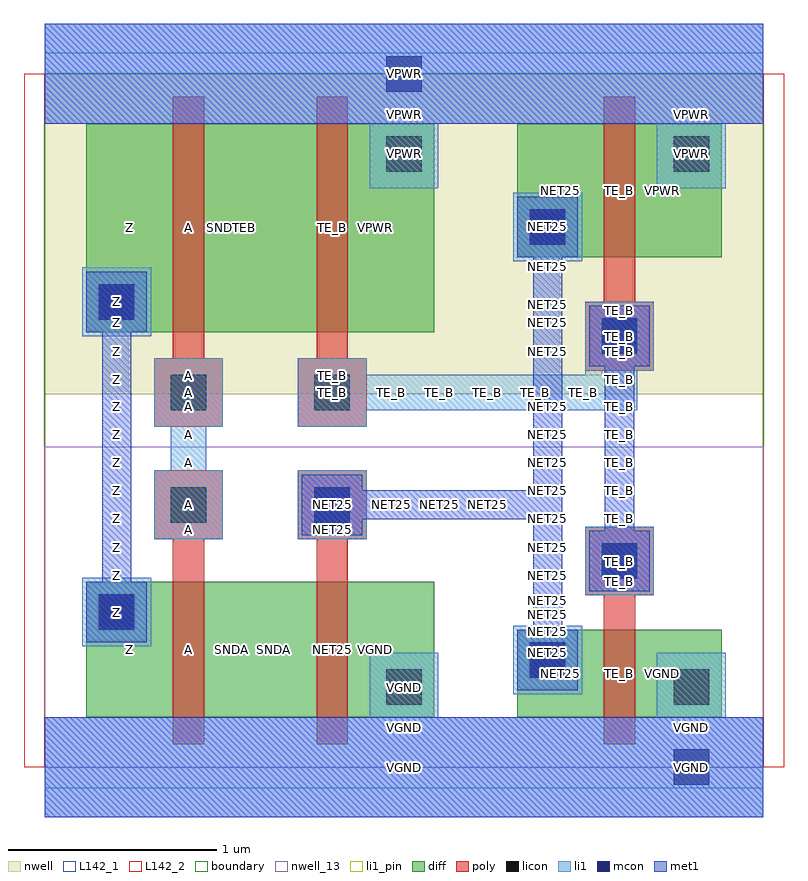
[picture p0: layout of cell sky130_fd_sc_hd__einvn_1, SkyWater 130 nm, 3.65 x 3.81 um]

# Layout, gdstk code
import gdstk
lib = gdstk.Library(unit=1e-6, precision=1e-09)
def R(c, l, rs):  # rectangles x0, y0, x1, y1
    for r in rs: c.add(gdstk.rectangle(r[:2], r[2:], *l))
def P(c, l, *ps):  # polygons
    for p in ps: c.add(gdstk.Polygon(p, *l))
nwell_13 = (64, 13)
nwell = (64, 20)
diff = (65, 20)
poly = (66, 20)
licon = (66, 44)
li1_pin = (67, 16)
li1 = (67, 20)
mcon = (67, 44)
met1 = (68, 20)
L142_1 = (142, 1)
L142_2 = (142, 2)
boundary = (235, 4)

sky130_fd_sc_hd__einvn_1 = lib.new_cell('sky130_fd_sc_hd__einvn_1')
R(sky130_fd_sc_hd__einvn_1, nwell_13, [(0,0,3.45,1.54)])
R(sky130_fd_sc_hd__einvn_1, nwell, [(0,1.79,3.45,3.33)])
R(sky130_fd_sc_hd__einvn_1, diff, [(0.2,0.24,1.87,0.89), (0.2,0.24,0.615,0.89), (0.615,0.24,1.305,0.89), (1.305,0.24,1.87,0.89), (2.27,0.24,3.25,0.66), (2.27,0.24,2.685,0.66), (2.685,0.24,3.25,0.66), (0.2,2.09,1.87,3.09), (0.2,2.09,0.615,3.09), (0.615,2.09,1.305,3.09), (1.305,2.09,1.87,3.09), (2.27,2.45,3.25,3.09), (2.27,2.45,2.685,3.09), (2.685,2.45,3.25,3.09)])
P(sky130_fd_sc_hd__einvn_1, poly, [(2.685,0.11),(2.685,0.825),(2.595,0.825),(2.595,1.155),(2.925,1.155),(2.925,0.825),(2.835,0.825),(2.835,0.11)],
  [(1.215,1.635),(1.215,1.965),(1.305,1.965),(1.305,3.22),(1.455,3.22),(1.455,1.965),(1.545,1.965),(1.545,1.635)],
  [(2.595,1.905),(2.595,2.235),(2.685,2.235),(2.685,3.22),(2.835,3.22),(2.835,2.235),(2.925,2.235),(2.925,1.905)],
  [(1.305,0.11),(1.305,1.095),(1.215,1.095),(1.215,1.425),(1.545,1.425),(1.545,1.095),(1.455,1.095),(1.455,0.11)],
  [(0.615,0.11),(0.615,1.095),(0.525,1.095),(0.525,1.425),(0.855,1.425),(0.855,1.095),(0.765,1.095),(0.765,0.11)],
  [(0.525,1.635),(0.525,1.965),(0.615,1.965),(0.615,3.22),(0.765,3.22),(0.765,1.965),(0.855,1.965),(0.855,1.635)])
R(sky130_fd_sc_hd__einvn_1, licon, [(1.64,0.3,1.81,0.47), (3.02,0.3,3.19,0.47), (2.33,0.43,2.5,0.6), (0.26,0.66,0.43,0.83), (2.675,0.905,2.845,1.075), (0.605,1.175,0.775,1.345), (1.295,1.175,1.465,1.345), (0.605,1.715,0.775,1.885), (1.295,1.715,1.465,1.885), (2.675,1.985,2.845,2.155), (0.26,2.15,0.43,2.32), (2.33,2.51,2.5,2.68), (1.64,2.86,1.81,3.03), (3.02,2.86,3.19,3.03)])
R(sky130_fd_sc_hd__einvn_1, li1_pin, [(0,-0.24,3.45,0.24), (0.18,0.58,0.51,0.91), (0,3.09,3.45,3.57)])
P(sky130_fd_sc_hd__einvn_1, li1_pin, [(1.215,1.635),(1.215,1.965),(1.545,1.965),(1.545,1.885),(2.675,1.885),(2.675,1.905),(2.595,1.905),(2.595,2.235),(2.925,2.235),(2.925,1.905),(2.845,1.905),(2.845,1.715),(1.545,1.715),(1.545,1.635)],
  [(0.525,1.095),(0.525,1.425),(0.605,1.425),(0.605,1.635),(0.525,1.635),(0.525,1.965),(0.855,1.965),(0.855,1.635),(0.775,1.635),(0.775,1.425),(0.855,1.425),(0.855,1.095)])
R(sky130_fd_sc_hd__einvn_1, li1, [(2.25,0.35,2.58,0.68), (0.18,0.58,0.51,0.91), (2.595,0.825,2.925,1.155), (1.215,1.095,1.545,1.425), (2.595,1.885,2.675,1.905), (0.18,2.07,0.51,2.4), (2.25,2.43,2.58,2.76)])
P(sky130_fd_sc_hd__einvn_1, li1, [(1.56,2.78),(1.56,3.09),(0,3.09),(0,3.57),(3.45,3.57),(3.45,3.09),(3.27,3.09),(3.27,2.78),(2.94,2.78),(2.94,3.09),(1.89,3.09),(1.89,2.78)],
  [(0,-0.24),(0,0.24),(1.56,0.24),(1.56,0.55),(1.89,0.55),(1.89,0.24),(2.94,0.24),(2.94,0.55),(3.27,0.55),(3.27,0.24),(3.45,0.24),(3.45,-0.24)],
  [(1.215,1.635),(1.215,1.965),(1.545,1.965),(1.545,1.885),(2.675,1.885),(2.675,1.905),(2.595,1.905),(2.595,2.235),(2.925,2.235),(2.925,1.905),(2.845,1.905),(2.845,1.715),(1.545,1.715),(1.545,1.635)],
  [(0.525,1.095),(0.525,1.425),(0.605,1.425),(0.605,1.635),(0.525,1.635),(0.525,1.965),(0.855,1.965),(0.855,1.635),(0.775,1.635),(0.775,1.425),(0.855,1.425),(0.855,1.095)])
R(sky130_fd_sc_hd__einvn_1, mcon, [(3.02,-0.085,3.19,0.085), (2.33,0.43,2.5,0.6), (0.26,0.66,0.43,0.83), (2.675,0.905,2.845,1.075), (1.295,1.175,1.465,1.345), (2.675,1.985,2.845,2.155), (0.26,2.15,0.43,2.32), (2.33,2.51,2.5,2.68), (1.64,3.245,1.81,3.415)])
R(sky130_fd_sc_hd__einvn_1, met1, [(0,-0.24,3.45,0.24), (0,3.09,3.45,3.57)])
P(sky130_fd_sc_hd__einvn_1, met1, [(2.615,0.845),(2.615,1.135),(2.69,1.135),(2.69,1.925),(2.615,1.925),(2.615,2.215),(2.905,2.215),(2.905,1.925),(2.83,1.925),(2.83,1.135),(2.905,1.135),(2.905,0.845)],
  [(2.27,0.37),(2.27,0.66),(2.345,0.66),(2.345,1.19),(1.525,1.19),(1.525,1.115),(1.235,1.115),(1.235,1.405),(1.525,1.405),(1.525,1.33),(2.345,1.33),(2.345,2.45),(2.27,2.45),(2.27,2.74),(2.56,2.74),(2.56,2.45),(2.485,2.45),(2.485,0.66),(2.56,0.66),(2.56,0.37)],
  [(0.2,0.6),(0.2,0.89),(0.275,0.89),(0.275,2.09),(0.2,2.09),(0.2,2.38),(0.49,2.38),(0.49,2.09),(0.415,2.09),(0.415,0.89),(0.49,0.89),(0.49,0.6)])
R(sky130_fd_sc_hd__einvn_1, L142_1, [(0,-0.1,3.45,0), (0,3.33,3.45,3.43)])
R(sky130_fd_sc_hd__einvn_1, L142_2, [(-0.1,0,0,3.33), (3.45,0,3.55,3.33)])
R(sky130_fd_sc_hd__einvn_1, boundary, [(0,0,3.45,3.33)])
sky130_fd_sc_hd__einvn_1.add(gdstk.Label('NET25', (2.477,0.45), layer=65, texttype=20))
sky130_fd_sc_hd__einvn_1.add(gdstk.Label('VGND', (2.967,0.45), layer=65, texttype=20))
sky130_fd_sc_hd__einvn_1.add(gdstk.Label('Z', (0.407,0.565), layer=65, texttype=20))
sky130_fd_sc_hd__einvn_1.add(gdstk.Label('SNDA', (0.897,0.565), layer=65, texttype=20))
sky130_fd_sc_hd__einvn_1.add(gdstk.Label('SNDA', (1.097,0.565), layer=65, texttype=20))
sky130_fd_sc_hd__einvn_1.add(gdstk.Label('VGND', (1.587,0.565), layer=65, texttype=20))
sky130_fd_sc_hd__einvn_1.add(gdstk.Label('NET25', (2.477,0.45), layer=65, texttype=20))
sky130_fd_sc_hd__einvn_1.add(gdstk.Label('VGND', (2.967,0.45), layer=65, texttype=20))
sky130_fd_sc_hd__einvn_1.add(gdstk.Label('Z', (0.407,0.565), layer=65, texttype=20))
sky130_fd_sc_hd__einvn_1.add(gdstk.Label('SNDA', (0.897,0.565), layer=65, texttype=20))
sky130_fd_sc_hd__einvn_1.add(gdstk.Label('SNDA', (1.097,0.565), layer=65, texttype=20))
sky130_fd_sc_hd__einvn_1.add(gdstk.Label('VGND', (1.587,0.565), layer=65, texttype=20))
sky130_fd_sc_hd__einvn_1.add(gdstk.Label('NET25', (2.415,0.515), layer=65, texttype=20))
sky130_fd_sc_hd__einvn_1.add(gdstk.Label('VGND', (3.105,0.385), layer=65, texttype=20))
sky130_fd_sc_hd__einvn_1.add(gdstk.Label('VGND', (1.725,0.385), layer=65, texttype=20))
sky130_fd_sc_hd__einvn_1.add(gdstk.Label('Z', (0.345,0.745), layer=65, texttype=20))
sky130_fd_sc_hd__einvn_1.add(gdstk.Label('Z', (0.407,2.59), layer=65, texttype=20))
sky130_fd_sc_hd__einvn_1.add(gdstk.Label('SNDTEB', (0.897,2.59), layer=65, texttype=20))
sky130_fd_sc_hd__einvn_1.add(gdstk.Label('SNDTEB', (1.097,2.59), layer=65, texttype=20))
sky130_fd_sc_hd__einvn_1.add(gdstk.Label('VPWR', (1.587,2.59), layer=65, texttype=20))
sky130_fd_sc_hd__einvn_1.add(gdstk.Label('NET25', (2.477,2.77), layer=65, texttype=20))
sky130_fd_sc_hd__einvn_1.add(gdstk.Label('VPWR', (2.967,2.77), layer=65, texttype=20))
sky130_fd_sc_hd__einvn_1.add(gdstk.Label('Z', (0.407,2.59), layer=65, texttype=20))
sky130_fd_sc_hd__einvn_1.add(gdstk.Label('SNDTEB', (0.897,2.59), layer=65, texttype=20))
sky130_fd_sc_hd__einvn_1.add(gdstk.Label('SNDTEB', (1.097,2.59), layer=65, texttype=20))
sky130_fd_sc_hd__einvn_1.add(gdstk.Label('VPWR', (1.587,2.59), layer=65, texttype=20))
sky130_fd_sc_hd__einvn_1.add(gdstk.Label('NET25', (2.477,2.77), layer=65, texttype=20))
sky130_fd_sc_hd__einvn_1.add(gdstk.Label('VPWR', (2.967,2.77), layer=65, texttype=20))
sky130_fd_sc_hd__einvn_1.add(gdstk.Label('NET25', (2.415,2.595), layer=65, texttype=20))
sky130_fd_sc_hd__einvn_1.add(gdstk.Label('Z', (0.345,2.235), layer=65, texttype=20))
sky130_fd_sc_hd__einvn_1.add(gdstk.Label('VPWR', (1.725,2.945), layer=65, texttype=20))
sky130_fd_sc_hd__einvn_1.add(gdstk.Label('VPWR', (3.105,2.945), layer=65, texttype=20))
sky130_fd_sc_hd__einvn_1.add(gdstk.Label('TE_B', (2.76,0.45), layer=66, texttype=20))
sky130_fd_sc_hd__einvn_1.add(gdstk.Label('A', (0.69,2.59), layer=66, texttype=20))
sky130_fd_sc_hd__einvn_1.add(gdstk.Label('TE_B', (1.38,2.59), layer=66, texttype=20))
sky130_fd_sc_hd__einvn_1.add(gdstk.Label('A', (0.69,0.565), layer=66, texttype=20))
sky130_fd_sc_hd__einvn_1.add(gdstk.Label('NET25', (1.38,0.565), layer=66, texttype=20))
sky130_fd_sc_hd__einvn_1.add(gdstk.Label('TE_B', (2.76,2.77), layer=66, texttype=20))
sky130_fd_sc_hd__einvn_1.add(gdstk.Label('TE_B', (2.76,0.45), layer=66, texttype=20))
sky130_fd_sc_hd__einvn_1.add(gdstk.Label('A', (0.69,2.59), layer=66, texttype=20))
sky130_fd_sc_hd__einvn_1.add(gdstk.Label('TE_B', (1.38,2.59), layer=66, texttype=20))
sky130_fd_sc_hd__einvn_1.add(gdstk.Label('A', (0.69,0.565), layer=66, texttype=20))
sky130_fd_sc_hd__einvn_1.add(gdstk.Label('NET25', (1.38,0.565), layer=66, texttype=20))
sky130_fd_sc_hd__einvn_1.add(gdstk.Label('TE_B', (2.76,2.77), layer=66, texttype=20))
sky130_fd_sc_hd__einvn_1.add(gdstk.Label('NET25', (1.38,1.14), layer=66, texttype=20))
sky130_fd_sc_hd__einvn_1.add(gdstk.Label('TE_B', (2.76,0.89), layer=66, texttype=20))
sky130_fd_sc_hd__einvn_1.add(gdstk.Label('TE_B', (2.76,2.195), layer=66, texttype=20))
sky130_fd_sc_hd__einvn_1.add(gdstk.Label('TE_B', (1.38,1.88), layer=66, texttype=20))
sky130_fd_sc_hd__einvn_1.add(gdstk.Label('A', (0.69,1.88), layer=66, texttype=20))
sky130_fd_sc_hd__einvn_1.add(gdstk.Label('A', (0.69,1.14), layer=66, texttype=20))
sky130_fd_sc_hd__einvn_1.add(gdstk.Label('NET25', (1.38,1.26), layer=66, texttype=20))
sky130_fd_sc_hd__einvn_1.add(gdstk.Label('TE_B', (2.76,0.99), layer=66, texttype=20))
sky130_fd_sc_hd__einvn_1.add(gdstk.Label('TE_B', (2.76,2.07), layer=66, texttype=20))
sky130_fd_sc_hd__einvn_1.add(gdstk.Label('TE_B', (1.38,1.8), layer=66, texttype=20))
sky130_fd_sc_hd__einvn_1.add(gdstk.Label('A', (0.69,1.8), layer=66, texttype=20))
sky130_fd_sc_hd__einvn_1.add(gdstk.Label('A', (0.69,1.26), layer=66, texttype=20))
sky130_fd_sc_hd__einvn_1.add(gdstk.Label('NET25', (2.415,2.595), layer=66, texttype=44))
sky130_fd_sc_hd__einvn_1.add(gdstk.Label('Z', (0.345,2.235), layer=66, texttype=44))
sky130_fd_sc_hd__einvn_1.add(gdstk.Label('VPWR', (1.725,2.945), layer=66, texttype=44))
sky130_fd_sc_hd__einvn_1.add(gdstk.Label('VPWR', (3.105,2.945), layer=66, texttype=44))
sky130_fd_sc_hd__einvn_1.add(gdstk.Label('NET25', (2.415,0.515), layer=66, texttype=44))
sky130_fd_sc_hd__einvn_1.add(gdstk.Label('VGND', (3.105,0.385), layer=66, texttype=44))
sky130_fd_sc_hd__einvn_1.add(gdstk.Label('VGND', (1.725,0.385), layer=66, texttype=44))
sky130_fd_sc_hd__einvn_1.add(gdstk.Label('Z', (0.345,0.745), layer=66, texttype=44))
sky130_fd_sc_hd__einvn_1.add(gdstk.Label('NET25', (1.38,1.26), layer=66, texttype=44))
sky130_fd_sc_hd__einvn_1.add(gdstk.Label('TE_B', (2.76,0.99), layer=66, texttype=44))
sky130_fd_sc_hd__einvn_1.add(gdstk.Label('TE_B', (2.76,2.07), layer=66, texttype=44))
sky130_fd_sc_hd__einvn_1.add(gdstk.Label('TE_B', (1.38,1.8), layer=66, texttype=44))
sky130_fd_sc_hd__einvn_1.add(gdstk.Label('A', (0.69,1.8), layer=66, texttype=44))
sky130_fd_sc_hd__einvn_1.add(gdstk.Label('A', (0.69,1.26), layer=66, texttype=44))
sky130_fd_sc_hd__einvn_1.add(gdstk.Label('VPWR', (1.725,3.33), layer=67, texttype=20))
sky130_fd_sc_hd__einvn_1.add(gdstk.Label('VGND', (1.725,0), layer=67, texttype=20))
sky130_fd_sc_hd__einvn_1.add(gdstk.Label('VPWR', (1.725,3.33), layer=67, texttype=20))
sky130_fd_sc_hd__einvn_1.add(gdstk.Label('VGND', (1.725,0), layer=67, texttype=20))
sky130_fd_sc_hd__einvn_1.add(gdstk.Label('VGND', (3.105,0.192), layer=67, texttype=20))
sky130_fd_sc_hd__einvn_1.add(gdstk.Label('VGND', (1.725,0.192), layer=67, texttype=20))
sky130_fd_sc_hd__einvn_1.add(gdstk.Label('VPWR', (1.725,3.137), layer=67, texttype=20))
sky130_fd_sc_hd__einvn_1.add(gdstk.Label('VPWR', (3.105,3.137), layer=67, texttype=20))
sky130_fd_sc_hd__einvn_1.add(gdstk.Label('TE_B', (2.76,1.997), layer=67, texttype=20))
sky130_fd_sc_hd__einvn_1.add(gdstk.Label('TE_B', (2.76,1.862), layer=67, texttype=20))
sky130_fd_sc_hd__einvn_1.add(gdstk.Label('TE_B', (2.702,1.8), layer=67, texttype=20))
sky130_fd_sc_hd__einvn_1.add(gdstk.Label('TE_B', (2.587,1.8), layer=67, texttype=20))
sky130_fd_sc_hd__einvn_1.add(gdstk.Label('TE_B', (2.472,1.8), layer=67, texttype=20))
sky130_fd_sc_hd__einvn_1.add(gdstk.Label('TE_B', (2.357,1.8), layer=67, texttype=20))
sky130_fd_sc_hd__einvn_1.add(gdstk.Label('TE_B', (2.242,1.8), layer=67, texttype=20))
sky130_fd_sc_hd__einvn_1.add(gdstk.Label('TE_B', (2.127,1.8), layer=67, texttype=20))
sky130_fd_sc_hd__einvn_1.add(gdstk.Label('TE_B', (2.012,1.8), layer=67, texttype=20))
sky130_fd_sc_hd__einvn_1.add(gdstk.Label('TE_B', (1.897,1.8), layer=67, texttype=20))
sky130_fd_sc_hd__einvn_1.add(gdstk.Label('TE_B', (1.782,1.8), layer=67, texttype=20))
sky130_fd_sc_hd__einvn_1.add(gdstk.Label('TE_B', (1.667,1.8), layer=67, texttype=20))
sky130_fd_sc_hd__einvn_1.add(gdstk.Label('TE_B', (1.552,1.8), layer=67, texttype=20))
sky130_fd_sc_hd__einvn_1.add(gdstk.Label('TE_B', (1.437,1.8), layer=67, texttype=20))
sky130_fd_sc_hd__einvn_1.add(gdstk.Label('A', (0.69,1.732), layer=67, texttype=20))
sky130_fd_sc_hd__einvn_1.add(gdstk.Label('A', (0.69,1.597), layer=67, texttype=20))
sky130_fd_sc_hd__einvn_1.add(gdstk.Label('A', (0.69,1.462), layer=67, texttype=20))
sky130_fd_sc_hd__einvn_1.add(gdstk.Label('A', (0.69,1.327), layer=67, texttype=20))
sky130_fd_sc_hd__einvn_1.add(gdstk.Label('NET25', (2.415,0.515), layer=67, texttype=20))
sky130_fd_sc_hd__einvn_1.add(gdstk.Label('NET25', (2.415,0.515), layer=67, texttype=20))
sky130_fd_sc_hd__einvn_1.add(gdstk.Label('NET25', (2.415,2.595), layer=67, texttype=20))
sky130_fd_sc_hd__einvn_1.add(gdstk.Label('NET25', (2.415,2.595), layer=67, texttype=20))
sky130_fd_sc_hd__einvn_1.add(gdstk.Label('NET25', (1.38,1.26), layer=67, texttype=20))
sky130_fd_sc_hd__einvn_1.add(gdstk.Label('NET25', (1.38,1.26), layer=67, texttype=20))
sky130_fd_sc_hd__einvn_1.add(gdstk.Label('VGND', (3.105,0.385), layer=67, texttype=20))
sky130_fd_sc_hd__einvn_1.add(gdstk.Label('VGND', (3.105,0), layer=67, texttype=20))
sky130_fd_sc_hd__einvn_1.add(gdstk.Label('VGND', (1.725,0.385), layer=67, texttype=20))
sky130_fd_sc_hd__einvn_1.add(gdstk.Label('Z', (0.345,0.745), layer=67, texttype=20))
sky130_fd_sc_hd__einvn_1.add(gdstk.Label('Z', (0.345,0.745), layer=67, texttype=20))
sky130_fd_sc_hd__einvn_1.add(gdstk.Label('Z', (0.345,2.235), layer=67, texttype=20))
sky130_fd_sc_hd__einvn_1.add(gdstk.Label('Z', (0.345,2.235), layer=67, texttype=20))
sky130_fd_sc_hd__einvn_1.add(gdstk.Label('VPWR', (1.725,2.945), layer=67, texttype=20))
sky130_fd_sc_hd__einvn_1.add(gdstk.Label('VPWR', (1.725,3.33), layer=67, texttype=20))
sky130_fd_sc_hd__einvn_1.add(gdstk.Label('VPWR', (3.105,2.945), layer=67, texttype=20))
sky130_fd_sc_hd__einvn_1.add(gdstk.Label('TE_B', (2.76,0.99), layer=67, texttype=20))
sky130_fd_sc_hd__einvn_1.add(gdstk.Label('TE_B', (2.76,0.99), layer=67, texttype=20))
sky130_fd_sc_hd__einvn_1.add(gdstk.Label('TE_B', (2.76,2.07), layer=67, texttype=20))
sky130_fd_sc_hd__einvn_1.add(gdstk.Label('TE_B', (2.76,2.07), layer=67, texttype=20))
sky130_fd_sc_hd__einvn_1.add(gdstk.Label('TE_B', (1.38,1.8), layer=67, texttype=20))
sky130_fd_sc_hd__einvn_1.add(gdstk.Label('A', (0.69,1.8), layer=67, texttype=20))
sky130_fd_sc_hd__einvn_1.add(gdstk.Label('A', (0.69,1.26), layer=67, texttype=20))
sky130_fd_sc_hd__einvn_1.add(gdstk.Label('Z', (0.345,0.745), layer=67, texttype=5))
sky130_fd_sc_hd__einvn_1.add(gdstk.Label('TE_B', (2.76,2.07), layer=67, texttype=5))
sky130_fd_sc_hd__einvn_1.add(gdstk.Label('A', (0.69,1.26), layer=67, texttype=5))
sky130_fd_sc_hd__einvn_1.add(gdstk.Label('VGND', (1.725,0), layer=67, texttype=5))
sky130_fd_sc_hd__einvn_1.add(gdstk.Label('VPWR', (1.725,3.33), layer=67, texttype=5))
sky130_fd_sc_hd__einvn_1.add(gdstk.Label('NET25', (2.415,0.515), layer=67, texttype=44))
sky130_fd_sc_hd__einvn_1.add(gdstk.Label('NET25', (2.415,2.595), layer=67, texttype=44))
sky130_fd_sc_hd__einvn_1.add(gdstk.Label('NET25', (1.38,1.26), layer=67, texttype=44))
sky130_fd_sc_hd__einvn_1.add(gdstk.Label('VGND', (3.105,0), layer=67, texttype=44))
sky130_fd_sc_hd__einvn_1.add(gdstk.Label('Z', (0.345,0.745), layer=67, texttype=44))
sky130_fd_sc_hd__einvn_1.add(gdstk.Label('Z', (0.345,2.235), layer=67, texttype=44))
sky130_fd_sc_hd__einvn_1.add(gdstk.Label('VPWR', (1.725,3.33), layer=67, texttype=44))
sky130_fd_sc_hd__einvn_1.add(gdstk.Label('TE_B', (2.76,0.99), layer=67, texttype=44))
sky130_fd_sc_hd__einvn_1.add(gdstk.Label('TE_B', (2.76,2.07), layer=67, texttype=44))
sky130_fd_sc_hd__einvn_1.add(gdstk.Label('VPWR', (1.725,3.33), layer=68, texttype=20))
sky130_fd_sc_hd__einvn_1.add(gdstk.Label('VGND', (1.725,0), layer=68, texttype=20))
sky130_fd_sc_hd__einvn_1.add(gdstk.Label('VPWR', (1.725,3.33), layer=68, texttype=20))
sky130_fd_sc_hd__einvn_1.add(gdstk.Label('VGND', (1.725,0), layer=68, texttype=20))
sky130_fd_sc_hd__einvn_1.add(gdstk.Label('NET25', (2.415,0.55), layer=68, texttype=20))
sky130_fd_sc_hd__einvn_1.add(gdstk.Label('NET25', (2.415,0.652), layer=68, texttype=20))
sky130_fd_sc_hd__einvn_1.add(gdstk.Label('NET25', (2.415,0.732), layer=68, texttype=20))
sky130_fd_sc_hd__einvn_1.add(gdstk.Label('NET25', (2.415,0.8), layer=68, texttype=20))
sky130_fd_sc_hd__einvn_1.add(gdstk.Label('NET25', (2.415,0.922), layer=68, texttype=20))
sky130_fd_sc_hd__einvn_1.add(gdstk.Label('NET25', (2.415,1.057), layer=68, texttype=20))
sky130_fd_sc_hd__einvn_1.add(gdstk.Label('NET25', (2.415,1.192), layer=68, texttype=20))
sky130_fd_sc_hd__einvn_1.add(gdstk.Label('NET25', (2.415,1.327), layer=68, texttype=20))
sky130_fd_sc_hd__einvn_1.add(gdstk.Label('NET25', (2.357,1.26), layer=68, texttype=20))
sky130_fd_sc_hd__einvn_1.add(gdstk.Label('NET25', (2.415,1.462), layer=68, texttype=20))
sky130_fd_sc_hd__einvn_1.add(gdstk.Label('NET25', (2.415,1.597), layer=68, texttype=20))
sky130_fd_sc_hd__einvn_1.add(gdstk.Label('NET25', (2.415,1.732), layer=68, texttype=20))
sky130_fd_sc_hd__einvn_1.add(gdstk.Label('NET25', (2.415,1.862), layer=68, texttype=20))
sky130_fd_sc_hd__einvn_1.add(gdstk.Label('NET25', (2.415,1.997), layer=68, texttype=20))
sky130_fd_sc_hd__einvn_1.add(gdstk.Label('NET25', (2.415,2.137), layer=68, texttype=20))
sky130_fd_sc_hd__einvn_1.add(gdstk.Label('NET25', (2.415,2.22), layer=68, texttype=20))
sky130_fd_sc_hd__einvn_1.add(gdstk.Label('NET25', (2.415,2.287), layer=68, texttype=20))
sky130_fd_sc_hd__einvn_1.add(gdstk.Label('NET25', (2.415,2.407), layer=68, texttype=20))
sky130_fd_sc_hd__einvn_1.add(gdstk.Label('NET25', (2.415,2.535), layer=68, texttype=20))
sky130_fd_sc_hd__einvn_1.add(gdstk.Label('NET25', (2.242,1.26), layer=68, texttype=20))
sky130_fd_sc_hd__einvn_1.add(gdstk.Label('NET25', (2.127,1.26), layer=68, texttype=20))
sky130_fd_sc_hd__einvn_1.add(gdstk.Label('NET25', (2.012,1.26), layer=68, texttype=20))
sky130_fd_sc_hd__einvn_1.add(gdstk.Label('NET25', (1.897,1.26), layer=68, texttype=20))
sky130_fd_sc_hd__einvn_1.add(gdstk.Label('NET25', (1.782,1.26), layer=68, texttype=20))
sky130_fd_sc_hd__einvn_1.add(gdstk.Label('NET25', (1.667,1.26), layer=68, texttype=20))
sky130_fd_sc_hd__einvn_1.add(gdstk.Label('NET25', (1.552,1.26), layer=68, texttype=20))
sky130_fd_sc_hd__einvn_1.add(gdstk.Label('NET25', (1.437,1.26), layer=68, texttype=20))
sky130_fd_sc_hd__einvn_1.add(gdstk.Label('Z', (0.345,0.8), layer=68, texttype=20))
sky130_fd_sc_hd__einvn_1.add(gdstk.Label('Z', (0.345,0.922), layer=68, texttype=20))
sky130_fd_sc_hd__einvn_1.add(gdstk.Label('Z', (0.345,1.057), layer=68, texttype=20))
sky130_fd_sc_hd__einvn_1.add(gdstk.Label('Z', (0.345,1.192), layer=68, texttype=20))
sky130_fd_sc_hd__einvn_1.add(gdstk.Label('Z', (0.345,1.327), layer=68, texttype=20))
sky130_fd_sc_hd__einvn_1.add(gdstk.Label('Z', (0.345,1.462), layer=68, texttype=20))
sky130_fd_sc_hd__einvn_1.add(gdstk.Label('Z', (0.345,1.597), layer=68, texttype=20))
sky130_fd_sc_hd__einvn_1.add(gdstk.Label('Z', (0.345,1.732), layer=68, texttype=20))
sky130_fd_sc_hd__einvn_1.add(gdstk.Label('Z', (0.345,1.862), layer=68, texttype=20))
sky130_fd_sc_hd__einvn_1.add(gdstk.Label('Z', (0.345,1.997), layer=68, texttype=20))
sky130_fd_sc_hd__einvn_1.add(gdstk.Label('Z', (0.345,2.137), layer=68, texttype=20))
sky130_fd_sc_hd__einvn_1.add(gdstk.Label('Z', (0.345,2.22), layer=68, texttype=20))
sky130_fd_sc_hd__einvn_1.add(gdstk.Label('TE_B', (2.76,1.057), layer=68, texttype=20))
sky130_fd_sc_hd__einvn_1.add(gdstk.Label('TE_B', (2.76,1.192), layer=68, texttype=20))
sky130_fd_sc_hd__einvn_1.add(gdstk.Label('TE_B', (2.76,1.327), layer=68, texttype=20))
sky130_fd_sc_hd__einvn_1.add(gdstk.Label('TE_B', (2.76,1.462), layer=68, texttype=20))
sky130_fd_sc_hd__einvn_1.add(gdstk.Label('TE_B', (2.76,1.597), layer=68, texttype=20))
sky130_fd_sc_hd__einvn_1.add(gdstk.Label('TE_B', (2.76,1.732), layer=68, texttype=20))
sky130_fd_sc_hd__einvn_1.add(gdstk.Label('TE_B', (2.76,1.862), layer=68, texttype=20))
sky130_fd_sc_hd__einvn_1.add(gdstk.Label('TE_B', (2.76,1.997), layer=68, texttype=20))
sky130_fd_sc_hd__einvn_1.add(gdstk.Label('NET25', (2.415,0.515), layer=68, texttype=20))
sky130_fd_sc_hd__einvn_1.add(gdstk.Label('NET25', (2.415,2.595), layer=68, texttype=20))
sky130_fd_sc_hd__einvn_1.add(gdstk.Label('NET25', (1.38,1.26), layer=68, texttype=20))
sky130_fd_sc_hd__einvn_1.add(gdstk.Label('VGND', (3.105,0), layer=68, texttype=20))
sky130_fd_sc_hd__einvn_1.add(gdstk.Label('Z', (0.345,0.745), layer=68, texttype=20))
sky130_fd_sc_hd__einvn_1.add(gdstk.Label('Z', (0.345,2.235), layer=68, texttype=20))
sky130_fd_sc_hd__einvn_1.add(gdstk.Label('VPWR', (1.725,3.33), layer=68, texttype=20))
sky130_fd_sc_hd__einvn_1.add(gdstk.Label('TE_B', (2.76,0.99), layer=68, texttype=20))
sky130_fd_sc_hd__einvn_1.add(gdstk.Label('TE_B', (2.76,2.07), layer=68, texttype=20))
sky130_fd_sc_hd__einvn_1.add(gdstk.Label('VGND', (1.725,0), layer=68, texttype=5))
sky130_fd_sc_hd__einvn_1.add(gdstk.Label('VPWR', (1.725,3.33), layer=68, texttype=5))

lib.write_gds('sky130_fd_sc_hd__einvn_1.gds')
